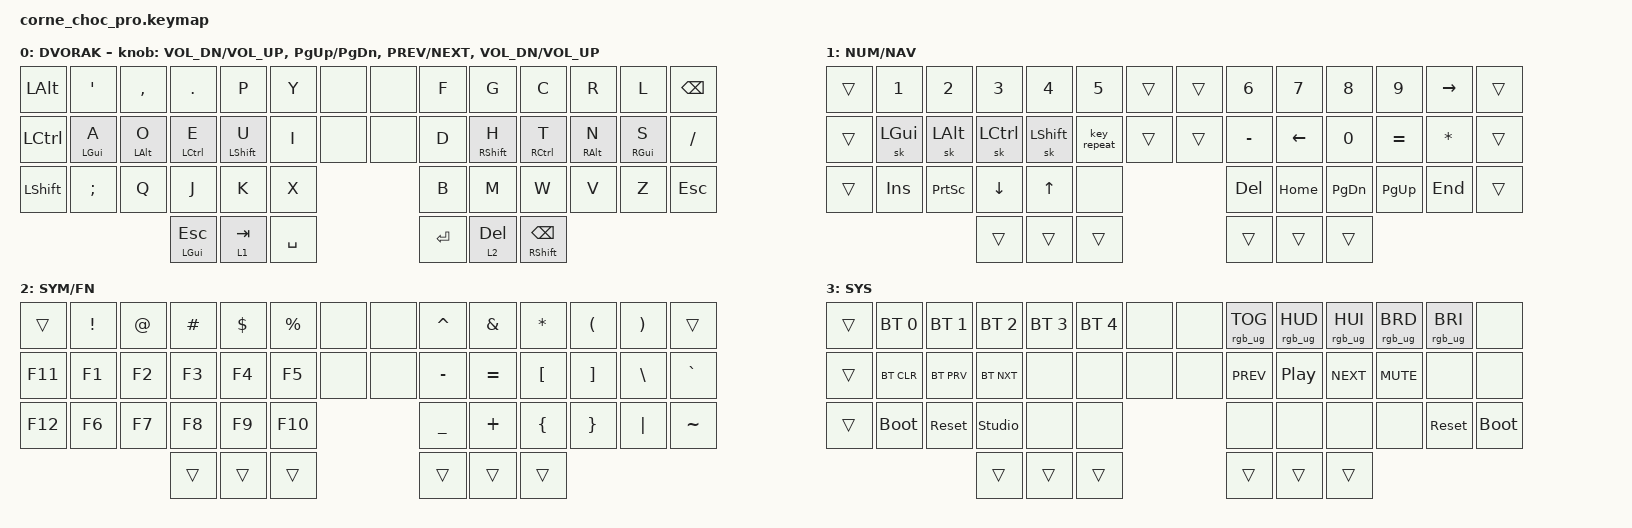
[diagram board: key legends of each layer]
/*
 * Corne Choc Pro BT — Dvorak
 *
 * SPDX-License-Identifier: MIT
 *
 * ---------------------------------------------------------------------------
 * NOTAS DE DISEÑO (leer antes de flashear)
 * ---------------------------------------------------------------------------
 *
 * 1. El host debe estar en QWERTY US. El firmware hace la traduccion a Dvorak
 *    mandando scancodes. Si el sistema operativo tambien esta en Dvorak, se
 *    aplican dos traducciones en cascada y sale basura.
 *
 * 2. Correcciones respecto al keymap anterior:
 *      - Fila inferior izquierda tenia "&kp Z" duplicada donde Dvorak lleva el
 *        punto y coma. Ahora es "&kp SEMICOLON" (shift da los dos puntos).
 *      - Fila home, columna exterior derecha tenia "&kp SQT" duplicando el
 *        apostrofe de la fila superior. Ahora es "&kp SLASH" (shift da el
 *        signo de interrogacion).
 *      - Los pulgares de las capas tenian teclas reales en vez de "&trans",
 *        lo que hacia perder Enter mientras se mantenia una capa.
 *
 * 3. Numeracion de posiciones fisicas (para hold-trigger-key-positions):
 *      Fila 0:  0-13   (izquierda 0-6, derecha 7-13)
 *      Fila 1:  14-27  (izquierda 14-20, derecha 21-27)
 *      Fila 2:  28-39  (izquierda 28-33, derecha 34-39)
 *      Pulgares: 40-45 (izquierda 40-42, derecha 43-45)
 *
 *    POSICIONES MUERTAS: 6, 7, 20 y 21. Son la columna interior de dos teclas
 *    por mitad que declara el shield "corne_choc_pro" pero que esta placa no
 *    tiene fisicamente. El arreglo de bindings DEBE conservar las 46 entradas
 *    (ZMK indexa por la distribucion declarada, no por lo soldado), pero esas
 *    cuatro nunca disparan nada. Estan puestas como &none a proposito: no les
 *    asignes nada que necesites. Aparecen en los hold-trigger-key-positions,
 *    lo cual es inofensivo porque jamas se activan.
 *
 * 4. PLAN DE TRANSICION: la primera semana flashea esto con los home row mods
 *    DESACTIVADOS. Para desactivarlos, reemplaza la fila home de la capa base
 *    por la linea comentada que esta justo debajo de ella. Cuando los pulgares
 *    nuevos (Esc y Backspace) ya se sientan naturales, vuelve a activarlos.
 *
 * 5. Los pulgares usan flavor "hold-preferred" y la fila home usa "balanced".
 *    No es inconsistencia: el pulgar nunca escribe letras en medio de una
 *    palabra, asi que puede resolver a hold de forma agresiva. Una letra de la
 *    fila home no puede, o cada roll se convertiria en un modificador.
 *
 * 6. Si al activar los home row mods aparecen modificadores fantasma, sube
 *    require-prior-idle-ms a 200 ANTES de tocar tapping-term-ms. Ese es el
 *    parametro que corta la mayoria de los falsos positivos al teclear rapido.
 * ---------------------------------------------------------------------------
 */

#include <behaviors.dtsi>
#include <dt-bindings/zmk/bt.h>
#include <dt-bindings/zmk/keys.h>
#include <dt-bindings/zmk/rgb.h>

/ {
    chosen { zmk,physical-layout = &default_layout; };
};

/ {
    behaviors {
        /*
         * Home row mods, mano IZQUIERDA.
         *
         * hold-trigger-key-positions lista todas las teclas de la mano DERECHA
         * mas los seis pulgares: el modificador solo se activa si la siguiente
         * tecla viene de la otra mano. Esto elimina los falsos positivos al
         * hacer rolls dentro de la misma mano (escribir "ae", "eo", "ou").
         *
         * require-prior-idle-ms: si veniamos tecleando hace menos de 150 ms,
         * la tecla se comporta SIEMPRE como letra, nunca como modificador.
         */
        hml: home_row_mod_left {
            compatible = "zmk,behavior-hold-tap";
            #binding-cells = <2>;
            flavor = "balanced";
            tapping-term-ms = <200>;
            quick-tap-ms = <175>;
            require-prior-idle-ms = <150>;
            hold-trigger-on-release;
            hold-trigger-key-positions = <7 8 9 10 11 12 13 21 22 23 24 25 26 27 34 35 36 37 38 39 40 41 42 43 44 45>;
            bindings = <&kp>, <&kp>;
        };

        /*
         * Home row mods, mano DERECHA.
         * Lista espejo: todas las teclas de la mano IZQUIERDA mas los pulgares.
         */
        hmr: home_row_mod_right {
            compatible = "zmk,behavior-hold-tap";
            #binding-cells = <2>;
            flavor = "balanced";
            tapping-term-ms = <200>;
            quick-tap-ms = <175>;
            require-prior-idle-ms = <150>;
            hold-trigger-on-release;
            hold-trigger-key-positions = <0 1 2 3 4 5 6 14 15 16 17 18 19 20 28 29 30 31 32 33 40 41 42 43 44 45>;
            bindings = <&kp>, <&kp>;
        };

        /*
         * Mod-tap de pulgar.
         *
         * "hold-preferred": CUALQUIER tecla presionada mientras mantienes el
         * pulgar resuelve a hold de inmediato, sin importar en que orden se
         * suelten las dos teclas.
         *
         * Esto es obligatorio aqui. Con "balanced" el hold solo gana si la otra
         * tecla se suelta ANTES que el pulgar; al escribir rapido levantas el
         * pulgar primero y la tecla se resuelve como tap, lo que mete un
         * Backspace en medio de una mayuscula.
         *
         * No se pierde el tap: si sueltas el pulgar sin haber tocado nada mas,
         * sigue siendo un toque.
         *
         * quick-tap-ms permite repetir Backspace a toda velocidad sin que la
         * segunda pulsacion se interprete como hold.
         */
        tmt: thumb_mod_tap {
            compatible = "zmk,behavior-hold-tap";
            #binding-cells = <2>;
            flavor = "hold-preferred";
            tapping-term-ms = <200>;
            quick-tap-ms = <200>;
            bindings = <&kp>, <&kp>;
        };

        /*
         * Layer-tap de pulgar. Misma logica que el mod-tap, pero el hold
         * activa una capa en lugar de un modificador.
         *
         * "hold-preferred" por la misma razon: con "balanced", escribir
         * "select * from" rapido levanta el pulgar antes que el meñique y la
         * capa nunca se activa, asi que en vez del asterisco sale un Tab.
         */
        tlt: thumb_layer_tap {
            compatible = "zmk,behavior-hold-tap";
            #binding-cells = <2>;
            flavor = "hold-preferred";
            tapping-term-ms = <200>;
            quick-tap-ms = <200>;
            bindings = <&mo>, <&kp>;
        };
    };

    /*
     * La capa 3 (sistema) se activa sola cuando mantienes los dos pulgares de
     * capa al mismo tiempo. Asi Bluetooth, bootloader y reset quedan fuera de
     * las capas que usas a diario.
     */
    conditional_layers {
        compatible = "zmk,conditional-layers";

        tri_layer {
            if-layers = <1 2>;
            then-layer = <3>;
        };
    };

    keymap {
        compatible = "zmk,keymap";

        default_layer {
            display-name = "DVORAK";

            // ---------------------------------------------------------------------------------
            // | ALT  |  '  |  ,  |  .  |  P  |  Y  | --- | --- |  F  |  G  |  C  |  R  |  L  | BSPC |
            // | CTRL |  A  |  O  |  E  |  U  |  I  | --- | --- |  D  |  H  |  T  |  N  |  S  |  /   |
            // | SHFT |  ;  |  Q  |  J  |  K  |  X  |           |  B  |  M  |  W  |  V  |  Z  | ESC  |
            //                  | GUI/ESC | L1/TAB | SPC |      | ENT | L2/DEL | SHFT/BSPC |
            //
            // "---" son las cuatro posiciones muertas de la columna interior.
            //
            // ALT ocupa la esquina exterior superior izquierda, donde antes
            // estaba TAB. TAB no se pierde: vive en el pulgar izquierdo. Esto
            // garantiza que haya una tecla Alt real aunque los home row mods
            // esten desactivados, que es el caso durante la semana de prueba.
            //
            // Modificadores en la fila home, de meñique hacia adentro:
            // GUI, ALT, CTRL, SHIFT en ambas manos (simetrico).
            //
            // Los pulgares exteriores hacen doble trabajo: al tocarlos dan Esc y
            // Backspace (dos teclas de altisima frecuencia que antes vivian en
            // las esquinas del meñique); al mantenerlos dan GUI y Shift, que es
            // exactamente lo que tenian antes. No se pierde nada.
            //
            // Esc y Tab aparecen duplicados en la columna exterior a proposito:
            // es redundancia durante la transicion. Si en un mes no los usas
            // ahi, esas dos posiciones quedan libres para lo que quieras.

            bindings = <
&kp LALT   &kp APOSTROPHE  &kp COMMA    &kp PERIOD    &kp P         &kp Y        &none       &none     &kp F    &kp G          &kp C          &kp R         &kp L         &kp BSPC
&kp LCTRL  &hml LGUI A     &hml LALT O  &hml LCTRL E  &hml LSHFT U  &kp I        &none       &none     &kp D    &hmr RSHFT H   &hmr RCTRL T   &hmr RALT N   &hmr RGUI S   &kp SLASH
&kp LSHFT  &kp SEMICOLON   &kp Q        &kp J         &kp K         &kp X                              &kp B    &kp M          &kp W          &kp V         &kp Z         &kp ESC
                                        &tmt LGUI ESC &tlt 1 TAB    &kp SPACE                          &kp RET  &tlt 2 DELETE  &tmt RSHFT BSPC
            >;

            // FILA HOME SIN HOME ROW MODS (para la primera semana).
            // Reemplaza la segunda linea de "bindings" por esta:
            //
            // &kp LCTRL  &kp A  &kp O  &kp E  &kp U  &kp I  &none  &none  &kp D  &kp H  &kp T  &kp N  &kp S  &kp SLASH

            sensor-bindings = <&inc_dec_kp C_VOL_DN C_VOL_UP &inc_dec_kp PG_UP PG_DN &inc_dec_kp C_PREV C_NEXT &inc_dec_kp C_VOL_DN C_VOL_UP>;
        };

        nav_num_layer {
            display-name = "NUM/NAV";

            // ---------------------------------------------------------------------------------
            // |      |  1  |  2  |  3  |  4  |  5  |     |     |  6   |  7   |  8   |  9   | RGT |     |
            // |      | GUI | ALT | CTL | SFT | REP |     |     |  -   | LFT  |  0   |  =   |  *  |     |
            // |      | INS | PSC | DWN | UP  |     |           | DEL  | HOME | PGDN | PGUP | END |     |
            //
            // Las flechas quedan en las posiciones fisicas de h, j, k, l de tu
            // Dvorak, tal como las tenias. Los numeros siguen repartidos entre
            // las dos manos.
            //
            // Los modificadores de la izquierda son STICKY (&sk): los tocas, los
            // sueltas, y se aplican a la siguiente tecla. Es obligatorio aqui:
            // UP esta en el indice izquierdo y DOWN en el medio izquierdo, asi
            // que un Shift mantenido en la fila home de esa misma mano seria un
            // acorde del mismo dedo, fisicamente imposible. Sticky lo convierte
            // en secuencial y resuelve el conflicto.
            //
            // &key_repeat repite la ultima tecla pulsada.

            bindings = <
&trans  &kp N1      &kp N2           &kp N3     &kp N4     &kp N5       &trans  &trans  &kp N6      &kp N7     &kp N8         &kp N9       &kp RIGHT     &trans
&trans  &sk LGUI    &sk LALT         &sk LCTRL  &sk LSHFT  &key_repeat  &trans  &trans  &kp MINUS   &kp LEFT   &kp N0         &kp EQUAL    &kp ASTERISK  &trans
&trans  &kp INSERT  &kp PRINTSCREEN  &kp DOWN   &kp UP     &none                        &kp DELETE  &kp HOME   &kp PAGE_DOWN  &kp PAGE_UP  &kp END       &trans
                                     &trans     &trans     &trans                       &trans      &trans     &trans
            >;
        };

        sym_layer {
            display-name = "SYM/FN";

            // ---------------------------------------------------------------------------------
            // |      |  !  |  @  |  #  |  $  |  %  | --- | --- |  ^  |  &  |  *  |  (  |  )  |     |
            // | F11  | F1  | F2  | F3  | F4  | F5  | --- | --- |  -  |  =  |  [  |  ]  |  \  |  `  |
            // | F12  | F6  | F7  | F8  | F9  | F10 |           |  _  |  +  |  {  |  }  | "|" |  ~  |
            //
            // F11 y F12 estaban en la columna interior muerta. Pasan a la
            // columna exterior izquierda, que estaba sin usar en esta capa.
            //
            // Esta capa se mantiene con el pulgar DERECHO, asi que la mano
            // izquierda esta libre y en posicion de reposo: ahi viven las teclas
            // de funcion. Eso ahorra una capa entera.

            bindings = <
&trans   &kp EXCLAMATION  &kp AT_SIGN  &kp HASH  &kp DOLLAR  &kp PERCENT  &none  &none  &kp CARET       &kp AMPERSAND  &kp ASTERISK      &kp LEFT_PARENTHESIS  &kp RIGHT_PARENTHESIS  &trans
&kp F11  &kp F1           &kp F2       &kp F3    &kp F4      &kp F5       &none  &none  &kp MINUS       &kp EQUAL      &kp LEFT_BRACKET  &kp RIGHT_BRACKET     &kp BACKSLASH          &kp GRAVE
&kp F12  &kp F6           &kp F7       &kp F8    &kp F9      &kp F10                    &kp UNDERSCORE  &kp PLUS       &kp LEFT_BRACE    &kp RIGHT_BRACE       &kp PIPE               &kp TILDE
                                      &trans    &trans      &trans                         &trans          &trans         &trans
            >;
        };

        system_layer {
            display-name = "SYS";

            // Capa condicional: se activa manteniendo los dos pulgares de capa.
            //
            // bootloader y sys_reset afectan SOLO la mitad del teclado donde los
            // presionas, por eso aparecen en ambos lados.
            //
            // studio_unlock habilita la edicion en vivo desde ZMK Studio.
            //
            // Las teclas multimedia (anterior, play/pausa, siguiente, mute)
            // estaban en la columna interior muerta de la capa base. Viven aqui
            // ahora, en la fila home de la mano derecha. Los encoders siguen
            // cubriendo volumen y pista en cualquier capa.

            bindings = <
&trans  &bt BT_SEL 0  &bt BT_SEL 1  &bt BT_SEL 2    &bt BT_SEL 3  &bt BT_SEL 4  &none  &none  &rgb_ug RGB_TOG  &rgb_ug RGB_HUD  &rgb_ug RGB_HUI  &rgb_ug RGB_BRD  &rgb_ug RGB_BRI  &none
&trans  &bt BT_CLR    &bt BT_PRV    &bt BT_NXT      &none         &none         &none  &none  &kp C_PREV       &kp C_PP         &kp C_NEXT       &kp C_MUTE       &none            &none
&trans  &bootloader   &sys_reset    &studio_unlock  &none         &none                       &none            &none            &none            &none            &sys_reset       &bootloader
                                    &trans          &trans        &trans                      &trans           &trans           &trans
            >;
        };
    };
};
